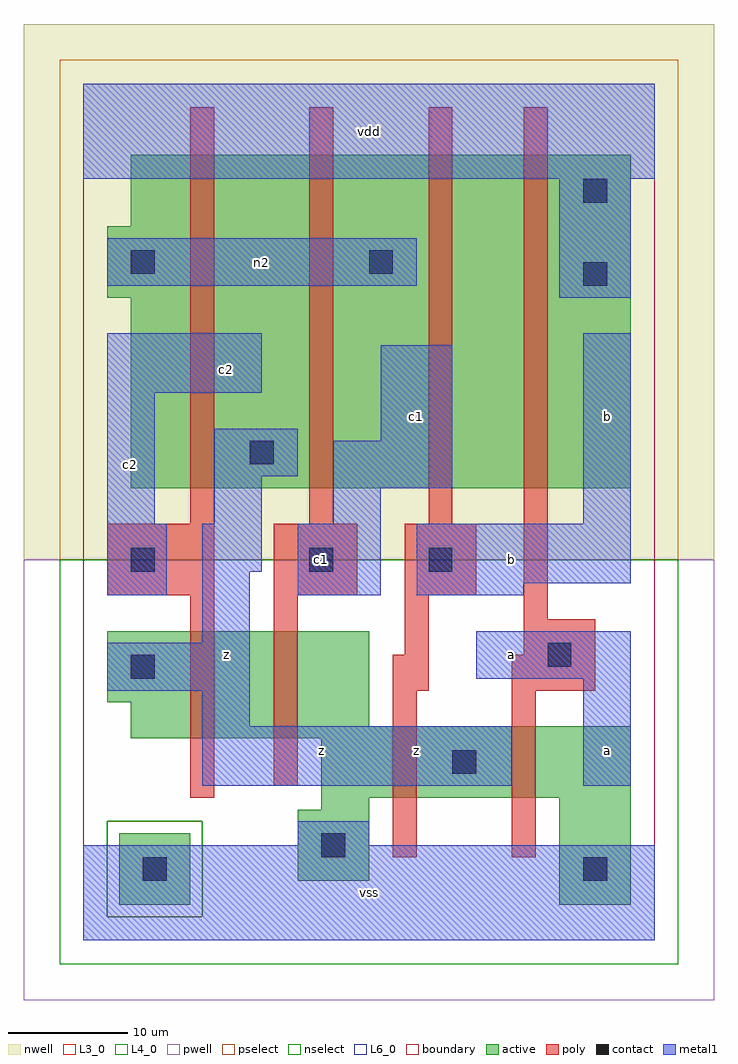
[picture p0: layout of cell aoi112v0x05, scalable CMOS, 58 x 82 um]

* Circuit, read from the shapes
.subckt aoi112v0x05 a b c1 c2 n2 vdd vss z
M1 n1 c2 z vss nfet w=9u l=2u
M2 vss c1 n1 vss nfet w=9u l=2u
M3 z b vss vss nfet w=6u l=2u
M4 vss a z vss nfet w=6u l=2u
M5 z c2 n2 n3 pfet w=28u l=2u
M6 n2 c1 z n3 pfet w=28u l=2u
M7 n4 b n2 n3 pfet w=28u l=2u
M8 vdd a n4 n3 pfet w=28u l=2u
.ends

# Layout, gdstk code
import gdstk
lib = gdstk.Library(unit=1e-6, precision=1e-09)
def R(c, l, rs):  # rectangles x0, y0, x1, y1
    for r in rs: c.add(gdstk.rectangle(r[:2], r[2:], *l))
def A(c, l, x, y, w, h, nx, ny, dx, dy):  # array of equal rectangles
    R(c, l, [(x+i*dx, y+j*dy, x+i*dx+w, y+j*dy+h) for i in range(nx) for j in range(ny)])
L3_0 = (3, 0)
L4_0 = (4, 0)
L6_0 = (6, 0)
contact = (25, 0)
pwell = (41, 0)
nwell = (42, 0)
active = (43, 0)
pselect = (44, 0)
nselect = (45, 0)
poly = (46, 0)
metal1 = (49, 0)
boundary = (63, 0)

aoi112v0x05 = lib.new_cell('aoi112v0x05')
R(aoi112v0x05, L3_0, [(40,3,46,12), (18,5,24,11), (20,11,24,12), (20,12,46,17), (4,17,46,18), (4,18,24,20), (2,20,24,26)])
R(aoi112v0x05, L4_0, [(4,38,46,54), (2,54,46,60), (4,60,46,66)])
R(aoi112v0x05, L6_0, [(3,3,9,9)])
R(aoi112v0x05, contact, [(5,5,7,7), (42,5,44,7), (20,7,22,9), (31,14,33,16), (4,22,6,24), (39,23,41,25), (4,31,6,33), (19,31,21,33), (29,31,31,33), (14,40,16,42), (42,55,44,57), (4,56,6,58), (24,56,26,58), (42,62,44,64)])
R(aoi112v0x05, pwell, [(-5,-5,53,32)])
R(aoi112v0x05, nwell, [(-5,32,53,77)])
R(aoi112v0x05, active, [(3,3,9,9), (40,3,46,12), (18,5,24,11), (20,11,24,12), (20,12,46,17), (4,17,46,18), (4,18,24,20), (2,20,24,26), (4,38,46,54), (2,54,46,60), (4,60,46,66)])
R(aoi112v0x05, pselect, [(2,2,10,10), (-2,32,50,74)])
R(aoi112v0x05, nselect, [(-2,-2,50,2), (-2,2,2,10), (10,2,50,10), (-2,10,50,32)])
A(aoi112v0x05, poly, 9, 35, 2, 35, 3, 1, 10, 0)
R(aoi112v0x05, poly, [(26,7,28,21), (36,7,38,21), (9,12,11,29), (16,13,18,29), (26,21,29,24), (36,21,43,24), (27,24,29,29), (37,24,43,27), (37,27,39,70), (2,29,11,35), (16,29,23,35), (27,29,33,35)])
R(aoi112v0x05, metal1, [(0,0,48,8), (18,8,24,10), (10,13,36,18), (42,13,46,22), (10,18,14,21), (2,21,14,25), (33,22,46,26), (10,25,14,31), (2,29,7,35), (18,29,25,35), (28,29,37,30), (28,30,46,35), (10,31,15,35), (2,35,6,46), (11,35,15,39), (21,35,25,38), (42,35,46,51), (21,38,31,42), (11,39,18,43), (25,42,31,50), (2,46,15,51), (40,54,46,64), (2,55,28,59), (0,64,48,72)])
R(aoi112v0x05, boundary, [(0,0,48,72)])
aoi112v0x05.add(gdstk.Label('n2', (15,57), layer=49, texttype=0))
aoi112v0x05.add(gdstk.Label('c2', (4,40), layer=49, texttype=0))
aoi112v0x05.add(gdstk.Label('z', (20,16), layer=49, texttype=0))
aoi112v0x05.add(gdstk.Label('z', (12,24), layer=49, texttype=0))
aoi112v0x05.add(gdstk.Label('c1', (20,32), layer=49, texttype=0))
aoi112v0x05.add(gdstk.Label('c2', (12,48), layer=49, texttype=0))
aoi112v0x05.add(gdstk.Label('vss', (24,4), layer=49, texttype=0))
aoi112v0x05.add(gdstk.Label('z', (28,16), layer=49, texttype=0))
aoi112v0x05.add(gdstk.Label('c1', (28,44), layer=49, texttype=0))
aoi112v0x05.add(gdstk.Label('vdd', (24,68), layer=49, texttype=0))
aoi112v0x05.add(gdstk.Label('a', (44,16), layer=49, texttype=0))
aoi112v0x05.add(gdstk.Label('b', (36,32), layer=49, texttype=0))
aoi112v0x05.add(gdstk.Label('a', (36,24), layer=49, texttype=0))
aoi112v0x05.add(gdstk.Label('b', (44,44), layer=49, texttype=0))

lib.write_gds('aoi112v0x05.gds')
